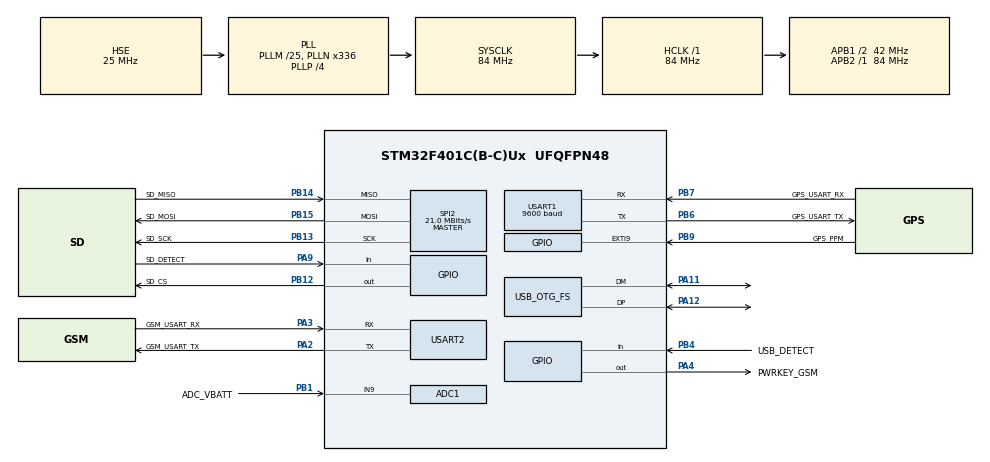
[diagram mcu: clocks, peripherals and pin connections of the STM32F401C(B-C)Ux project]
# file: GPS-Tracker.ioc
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ADC1.Channel-0\#ChannelRegularConversion=ADC_CHANNEL_9
ADC1.ClockPrescaler=ADC_CLOCK_SYNC_PCLK_DIV4
ADC1.ContinuousConvMode=DISABLE
ADC1.DMAContinuousRequests=ENABLE
ADC1.DataAlign=ADC_DATAALIGN_RIGHT
ADC1.EOCSelection=ADC_EOC_SINGLE_CONV
ADC1.ExternalTrigConv=ADC_EXTERNALTRIGCONV_T2_TRGO
ADC1.NbrOfConversionFlag=1
ADC1.Rank-0\#ChannelRegularConversion=1
ADC1.Resolution=ADC_RESOLUTION_8B
ADC1.SamplingTime-0\#ChannelRegularConversion=ADC_SAMPLETIME_480CYCLES
ADC1.master=1
Dma.ADC1.0.Direction=DMA_PERIPH_TO_MEMORY
Dma.ADC1.0.FIFOMode=DMA_FIFOMODE_DISABLE
Dma.ADC1.0.Instance=DMA2_Stream0
Dma.ADC1.0.MemDataAlignment=DMA_MDATAALIGN_HALFWORD
Dma.ADC1.0.MemInc=DMA_MINC_ENABLE
Dma.ADC1.0.Mode=DMA_CIRCULAR
Dma.ADC1.0.PeriphDataAlignment=DMA_PDATAALIGN_HALFWORD
Dma.ADC1.0.PeriphInc=DMA_PINC_DISABLE
Dma.ADC1.0.Priority=DMA_PRIORITY_LOW
Dma.Request0=ADC1
FATFS._MAX_SS=4096
FREERTOS.BinarySemaphores01=send_sms_sem,Dynamic,NULL
FREERTOS.Queues01=gnss_queue,2,nmea_t,0,Dynamic,NULL,NULL;sender_num_queue,1,msg_data_t,0,Dynamic,NULL,NULL
FREERTOS.Tasks01=mqtt_task,24,128,start_mqtt_task,Default,NULL,Dynamic,NULL,NULL;task_gsm,24,1024,start_task_gsm,Default,NULL,Dynamic,NULL,NULL;task_send_gsm,24,512,start_task_send_gsm,Default,NULL,Dynamic,NULL,NULL;task_nmea,24,512,start_task_nmea,Default,NULL,Dynamic,NULL,NULL;task_get_gps,12,128,start_task_get_gps,Default,NULL,Dynamic,NULL,NULL;task_sdcard,23,512,start_task_sdcard,Default,NULL,Dynamic,NULL,NULL
FREERTOS.configTOTAL_HEAP_SIZE=15360
FREERTOS.configUSE_NEWLIB_REENTRANT=1
FREERTOS.configUSE_STATS_FORMATTING_FUNCTIONS=1
Mcu.Family=STM32F4
Mcu.Name=STM32F401C(B-C)Ux
Mcu.Package=UFQFPN48
NVIC.DMA2_Stream0_IRQn=true\:5\:0\:false\:false\:true\:true\:false\:true
NVIC.EXTI9_5_IRQn=true\:5\:0\:false\:false\:true\:true\:true\:true
NVIC.OTG_FS_IRQn=true\:5\:0\:false\:false\:true\:true\:false\:true
NVIC.PriorityGroup=NVIC_PRIORITYGROUP_4
NVIC.TIM1_BRK_TIM9_IRQn=true\:5\:0\:false\:false\:true\:true\:true\:true
NVIC.TIM1_TRG_COM_TIM11_IRQn=true\:15\:0\:false\:false\:true\:false\:false\:true
NVIC.TimeBase=TIM1_TRG_COM_TIM11_IRQn
NVIC.TimeBaseIP=TIM11
NVIC.USART1_IRQn=true\:5\:0\:false\:false\:true\:true\:true\:true
NVIC.USART2_IRQn=true\:5\:0\:false\:false\:true\:true\:true\:true
PA11.Mode=Device_Only
PA11.Signal=USB_OTG_FS_DM
PA12.Mode=Device_Only
PA12.Signal=USB_OTG_FS_DP
PA13.Mode=Trace_Asynchronous_SW
PA13.Signal=SYS_JTMS-SWDIO
PA14.Mode=Trace_Asynchronous_SW
PA14.Signal=SYS_JTCK-SWCLK
PA2.GPIO_Label=GSM_USART_TX
PA2.Mode=Asynchronous
PA2.Signal=USART2_TX
PA3.GPIO_Label=GSM_USART_RX
PA3.Mode=Asynchronous
PA3.Signal=USART2_RX
PA4.GPIO_Label=PWRKEY_GSM
PA4.GPIO_Speed=GPIO_SPEED_FREQ_VERY_HIGH
PA4.Signal=GPIO_Output
PA9.GPIO_Label=SD_DETECT
PA9.Signal=GPIO_Input
PB1.GPIO_Label=ADC_VBATT
PB1.Signal=ADCx_IN9
PB12.GPIO_Label=SD_CS
PB12.GPIO_Speed=GPIO_SPEED_FREQ_VERY_HIGH
PB12.Signal=GPIO_Output
PB13.GPIO_Label=SD_SCK
PB13.Mode=Full_Duplex_Master
PB13.Signal=SPI2_SCK
PB14.GPIO_Label=SD_MISO
PB14.Mode=Full_Duplex_Master
PB14.Signal=SPI2_MISO
PB15.GPIO_Label=SD_MOSI
PB15.Mode=Full_Duplex_Master
PB15.Signal=SPI2_MOSI
PB3.Mode=Trace_Asynchronous_SW
PB3.Signal=SYS_JTDO-SWO
PB4.GPIO_Label=USB_DETECT
PB4.Signal=GPIO_Input
PB6.GPIO_Label=GPS_USART_TX
PB6.Mode=Asynchronous
PB6.Signal=USART1_TX
PB7.GPIO_Label=GPS_USART_RX
PB7.Mode=Asynchronous
PB7.Signal=USART1_RX
PB9.GPIO_Label=GPS_PPM
PB9.GPIO_ModeDefaultEXTI=GPIO_MODE_IT_RISING
PB9.GPIO_PuPd=GPIO_NOPULL
PB9.Signal=GPXTI9
PH0\ -\ OSC_IN.Mode=HSE-External-Oscillator
PH0\ -\ OSC_IN.Signal=RCC_OSC_IN
PH1\ -\ OSC_OUT.Mode=HSE-External-Oscillator
PH1\ -\ OSC_OUT.Signal=RCC_OSC_OUT
ProjectManager.HeapSize=0x1000
ProjectManager.StackSize=0x2000
ProjectManager.TargetToolchain=STM32CubeIDE
RCC.48MHZClocksFreq_Value=48000000
RCC.AHBFreq_Value=84000000
RCC.APB1CLKDivider=RCC_HCLK_DIV2
RCC.APB1Freq_Value=42000000
RCC.APB1TimFreq_Value=84000000
RCC.APB2Freq_Value=84000000
RCC.APB2TimFreq_Value=84000000
RCC.CortexFreq_Value=84000000
RCC.HCLKFreq_Value=84000000
RCC.HSE_VALUE=25000000
RCC.HSI_VALUE=16000000
RCC.LSE_VALUE=32768
RCC.PLLM=25
RCC.PLLN=336
RCC.PLLP=RCC_PLLP_DIV4
RCC.PLLQ=7
RCC.RCC_RTC_Clock_Source=RCC_RTCCLKSOURCE_LSI
RCC.RCC_RTC_Clock_SourceVirtual=RCC_RTCCLKSOURCE_LSI
RCC.SYSCLKFreq_VALUE=84000000
RCC.SYSCLKSource=RCC_SYSCLKSOURCE_PLLCLK
RCC.VCOOutputFreq_Value=336000000
SH.ADCx_IN9.0=ADC1_IN9,IN9
SPI2.BaudRatePrescaler=SPI_BAUDRATEPRESCALER_2
SPI2.CalculateBaudRate=21.0 MBits/s
SPI2.Direction=SPI_DIRECTION_2LINES
SPI2.Mode=SPI_MODE_MASTER
SPI2.VirtualType=VM_MASTER
TIM2.AutoReloadPreload=TIM_AUTORELOAD_PRELOAD_ENABLE
TIM2.Period=8000-1
TIM2.Prescaler=42000-1
TIM2.TIM_MasterOutputTrigger=TIM_TRGO_UPDATE
TIM9.Period=8000-1
TIM9.Prescaler=16000-1
USART1.BaudRate=9600
USART1.VirtualMode=VM_ASYNC
USART2.VirtualMode=VM_ASYNC
USB_DEVICE.CLASS_NAME_FS=MSC
USB_DEVICE.VirtualMode=Msc
USB_DEVICE.VirtualModeFS=Msc_FS
USB_OTG_FS.VirtualMode=Device_Only
VP_FATFS_VS_Generic.Mode=User_defined
VP_FREERTOS_VS_CMSIS_V2.Mode=CMSIS_V2
VP_SYS_VS_tim11.Mode=TIM11
VP_TIM2_VS_ClockSourceINT.Mode=Internal
VP_TIM9_VS_ClockSourceINT.Mode=Internal
VP_USB_DEVICE_VS_USB_DEVICE_MSC_FS.Mode=MSC_FS
board=custom

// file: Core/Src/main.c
/* USER CODE BEGIN Header */
/**
  ******************************************************************************
  * @file           : main.c
  * @brief          : Main program body
  ******************************************************************************
  * @attention
  *
  * <h2><center>&copy; Copyright (c) 2022 STMicroelectronics.
  * All rights reserved.</center></h2>
  *
  * This software component is licensed by ST under BSD 3-Clause license,
  * the "License"; You may not use this file except in compliance with the
  * License. You may obtain a copy of the License at:
  *                        opensource.org/licenses/BSD-3-Clause
  *
  ******************************************************************************
  */
/* USER CODE END Header */
#include "main.h"
#include "cmsis_os.h"
#include "adc.h"
#include "dma.h"
#include "fatfs.h"
#include "spi.h"
#include "tim.h"
#include "usart.h"
#include "usb_device.h"
#include "gpio.h"

/* USER CODE BEGIN PD */
#ifdef DEBUG
#define SWO_DEBUG
#endif
/* USER CODE END PD */

/* USER CODE BEGIN PV */
extern uint8_t gps_is_ready;
extern uint16_t adc_bat;
/* USER CODE END PV */

void SystemClock_Config(void);
void MX_FREERTOS_Init(void);

/* USER CODE BEGIN 0 */

#ifdef SWO_DEBUG
int _write(int file, uint8_t *ptr, int len)
{

	for (int DataIdx = 0; DataIdx < len; DataIdx++)
	{
		ITM_SendChar(*ptr++);
	}
	return len;
}
#endif
#ifdef UART_DEBUG
#ifdef __GNUC__
#define PUTCHAR_PROTOTYPE int __io_putchar(int ch)
#else
#define PUTCHAR_PROTOTYPE int fputc(int ch, FILE *f)
#endif

PUTCHAR_PROTOTYPE
{
	while (!LL_USART_IsActiveFlag_TXE(USART1)) {}
	LL_USART_TransmitData8(USART1, *(uint8_t*)&ch);
	return ch;
}
#endif

static inline void batt_data_update_time(uint32_t ms)
{
	__HAL_TIM_SET_AUTORELOAD(&htim2, (ms * 2) - 1);
}

/* USER CODE END 0 */

int main(void)
{

  /* MCU Configuration--------------------------------------------------------*/

  /* Reset of all peripherals, Initializes the Flash interface and the Systick. */
  HAL_Init();

  /* Configure the system clock */
  SystemClock_Config();

  /* Initialize all configured peripherals */
  MX_GPIO_Init();
  MX_USART1_UART_Init();
  MX_USART2_UART_Init();
  MX_FATFS_Init();
  MX_SPI2_Init();
  MX_DMA_Init();
  MX_ADC1_Init();
  MX_TIM9_Init();
  MX_TIM2_Init();
  /* USER CODE BEGIN 2 */
  __HAL_TIM_SET_PRESCALER(&htim2, (HAL_RCC_GetHCLKFreq() / 2000) - 1); /* make sure that TIM2 clocked by HCLK freq */

  batt_data_update_time(5000);

  HAL_Delay(100);

  if (HAL_GPIO_ReadPin(USB_DETECT_GPIO_Port, USB_DETECT_Pin)) {
	  MX_USB_DEVICE_Init();
	   while(1) {}
  }

  HAL_TIM_Base_Start(&htim2);
  HAL_ADC_Start_DMA(&hadc1, (uint32_t*)&adc_bat, 1);
  /* USER CODE END 2 */

  /* Init scheduler */
  osKernelInitialize();  /* Call init function for freertos objects (in freertos.c) */
  MX_FREERTOS_Init();
  /* Start scheduler */
  osKernelStart();

  /* We should never get here as control is now taken by the scheduler */
  /* Infinite loop */
  while (1)
  {

  }
}

void SystemClock_Config(void)
{
  RCC_OscInitTypeDef RCC_OscInitStruct = {0};
  RCC_ClkInitTypeDef RCC_ClkInitStruct = {0};

  /** Configure the main internal regulator output voltage
  */
  __HAL_RCC_PWR_CLK_ENABLE();
  __HAL_PWR_VOLTAGESCALING_CONFIG(PWR_REGULATOR_VOLTAGE_SCALE2);
  /** Initializes the RCC Oscillators according to the specified parameters
  * in the RCC_OscInitTypeDef structure.
  */
  RCC_OscInitStruct.OscillatorType = RCC_OSCILLATORTYPE_HSE;
  RCC_OscInitStruct.HSEState = RCC_HSE_ON;
  RCC_OscInitStruct.PLL.PLLState = RCC_PLL_ON;
  RCC_OscInitStruct.PLL.PLLSource = RCC_PLLSOURCE_HSE;
  RCC_OscInitStruct.PLL.PLLM = 25;
  RCC_OscInitStruct.PLL.PLLN = 336;
  RCC_OscInitStruct.PLL.PLLP = RCC_PLLP_DIV4;
  RCC_OscInitStruct.PLL.PLLQ = 7;
  if (HAL_RCC_OscConfig(&RCC_OscInitStruct) != HAL_OK)
  {
    Error_Handler();
  }
  /** Initializes the CPU, AHB and APB buses clocks
  */
  RCC_ClkInitStruct.ClockType = RCC_CLOCKTYPE_HCLK|RCC_CLOCKTYPE_SYSCLK
                              |RCC_CLOCKTYPE_PCLK1|RCC_CLOCKTYPE_PCLK2;
  RCC_ClkInitStruct.SYSCLKSource = RCC_SYSCLKSOURCE_PLLCLK;
  RCC_ClkInitStruct.AHBCLKDivider = RCC_SYSCLK_DIV1;
  RCC_ClkInitStruct.APB1CLKDivider = RCC_HCLK_DIV2;
  RCC_ClkInitStruct.APB2CLKDivider = RCC_HCLK_DIV1;

  if (HAL_RCC_ClockConfig(&RCC_ClkInitStruct, FLASH_LATENCY_2) != HAL_OK)
  {
    Error_Handler();
  }
}

/* USER CODE BEGIN 4 */

void HAL_GPIO_EXTI_Callback(uint16_t GPIO_Pin)
{
	if (GPIO_Pin == GPS_PPM_Pin) {
		TIM9->CNT = 0;
		gps_is_ready = 1;
		HAL_TIM_Base_Start_IT(&htim9);
	}
}

volatile uint8_t FatFsCnt = 0;
volatile uint16_t Timer1, Timer2;

void SDTimer_Handler(void)
{
	if(Timer1 > 0)
		Timer1--;

	if(Timer2 > 0)
		Timer2--;
}
/* USER CODE END 4 */

void HAL_TIM_PeriodElapsedCallback(TIM_HandleTypeDef *htim)
{
  /* USER CODE BEGIN Callback 0 */
	if (htim->Instance == TIM9) {
		gps_is_ready = 0;
		HAL_TIM_Base_Stop_IT(&htim9);
//		HAL_GPIO_TogglePin(GPIOC, GPIO_PIN_13);
	}

	if (htim->Instance == TIM11) {
		FatFsCnt++;
		if(FatFsCnt >= 10) {
			FatFsCnt = 0;
			SDTimer_Handler();
		}
	}
  /* USER CODE END Callback 0 */
  if (htim->Instance == TIM11) {
    HAL_IncTick();
  }
}

void Error_Handler(void)
{
  __disable_irq();
  while (1)
  {
  }
}

/************************ (C) COPYRIGHT STMicroelectronics *****END OF FILE****/

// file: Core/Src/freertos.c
/* USER CODE BEGIN Header */
/**
  ******************************************************************************
  * File Name          : freertos.c
  * Description        : Code for freertos applications
  ******************************************************************************
  * @attention
  *
  * <h2><center>&copy; Copyright (c) 2022 STMicroelectronics.
  * All rights reserved.</center></h2>
  *
  * This software component is licensed by ST under Ultimate Liberty license
  * SLA0044, the "License"; You may not use this file except in compliance with
  * the License. You may obtain a copy of the License at:
  *                             www.st.com/SLA0044
  *
  ******************************************************************************
  */
/* USER CODE END Header */

#include "FreeRTOS.h"
#include "task.h"
#include "main.h"
#include "cmsis_os.h"

/* USER CODE BEGIN Includes */
#include "fatfs.h"
#include "gsm.h"
#include "nmea.h"
#include "user_math.h"
/* USER CODE END Includes */

/* USER CODE BEGIN PTD */
nmea_t gps;

extern ADC_HandleTypeDef hadc1;
/* USER CODE END PTD */

/* USER CODE BEGIN Variables */
FATFS 	fs;  // file system
FIL 	fil; // File
FILINFO fno;
FRESULT fresult;  // result
UINT 	br, bw;  // File read/write count

uint32_t freemem;
uint8_t gps_is_ready;
uint16_t adc_bat;

/* USER CODE END Variables */
/* Definitions for mqtt_task */
osThreadId_t mqtt_taskHandle;
const osThreadAttr_t mqtt_task_attributes = {
  .name = "mqtt_task",
  .stack_size = 128 * 4,
  .priority = (osPriority_t) osPriorityNormal,
};
/* Definitions for task_gsm */
osThreadId_t task_gsmHandle;
const osThreadAttr_t task_gsm_attributes = {
  .name = "task_gsm",
  .stack_size = 1024 * 4,
  .priority = (osPriority_t) osPriorityNormal,
};
/* Definitions for task_send_gsm */
osThreadId_t task_send_gsmHandle;
const osThreadAttr_t task_send_gsm_attributes = {
  .name = "task_send_gsm",
  .stack_size = 512 * 4,
  .priority = (osPriority_t) osPriorityAboveNormal,
};
/* Definitions for task_nmea */
osThreadId_t task_nmeaHandle;
const osThreadAttr_t task_nmea_attributes = {
  .name = "task_nmea",
  .stack_size = 512 * 4,
  .priority = (osPriority_t) osPriorityAboveNormal,
};
/* Definitions for task_get_gps */
osThreadId_t task_get_gpsHandle;
const osThreadAttr_t task_get_gps_attributes = {
  .name = "task_get_gps",
  .stack_size = 128 * 4,
  .priority = (osPriority_t) osPriorityLow4,
};
/* Definitions for task_sdcard */
osThreadId_t task_sdcardHandle;
const osThreadAttr_t task_sdcard_attributes = {
  .name = "task_sdcard",
  .stack_size = 512 * 4,
  .priority = (osPriority_t) osPriorityBelowNormal7,
};
/* Definitions for gnss_queue */
osMessageQueueId_t gnss_queueHandle;
const osMessageQueueAttr_t gnss_queue_attributes = {
  .name = "gnss_queue"
};
/* Definitions for sender_num_queue */
osMessageQueueId_t sender_num_queueHandle;
const osMessageQueueAttr_t sender_num_queue_attributes = {
  .name = "sender_num_queue"
};
/* Definitions for send_sms_sem */
osSemaphoreId_t send_sms_semHandle;
const osSemaphoreAttr_t send_sms_sem_attributes = {
  .name = "send_sms_sem"
};

/* USER CODE BEGIN FunctionPrototypes */
uint8_t is_sd_detect(void);
float get_vbat(uint32_t adc_data);
/* USER CODE END FunctionPrototypes */

void start_mqtt_task(void *argument);
void start_task_gsm(void *argument);
void start_task_send_gsm(void *argument);
void start_task_nmea(void *argument);
void start_task_get_gps(void *argument);
void start_task_sdcard(void *argument);

extern void MX_USB_DEVICE_Init(void);
void MX_FREERTOS_Init(void); /* (MISRA C 2004 rule 8.1) */

void MX_FREERTOS_Init(void) {

  /* Create the semaphores(s) */
  /* creation of send_sms_sem */
  send_sms_semHandle = osSemaphoreNew(1, 1, &send_sms_sem_attributes);

  /* USER CODE BEGIN RTOS_SEMAPHORES */
  /* add semaphores, ... */
  osSemaphoreAcquire(send_sms_semHandle, osWaitForever);
  /* USER CODE END RTOS_SEMAPHORES */

  /* Create the queue(s) */
  /* creation of gnss_queue */
  gnss_queueHandle = osMessageQueueNew (2, sizeof(nmea_t), &gnss_queue_attributes);

  /* creation of sender_num_queue */
  sender_num_queueHandle = osMessageQueueNew (1, sizeof(msg_data_t), &sender_num_queue_attributes);

  /* Create the thread(s) */
  /* creation of mqtt_task */
  mqtt_taskHandle = osThreadNew(start_mqtt_task, NULL, &mqtt_task_attributes);

  /* creation of task_gsm */
  task_gsmHandle = osThreadNew(start_task_gsm, NULL, &task_gsm_attributes);

  /* creation of task_send_gsm */
  task_send_gsmHandle = osThreadNew(start_task_send_gsm, NULL, &task_send_gsm_attributes);

  /* creation of task_nmea */
  task_nmeaHandle = osThreadNew(start_task_nmea, NULL, &task_nmea_attributes);

  /* creation of task_get_gps */
  task_get_gpsHandle = osThreadNew(start_task_get_gps, NULL, &task_get_gps_attributes);

  /* creation of task_sdcard */
  task_sdcardHandle = osThreadNew(start_task_sdcard, NULL, &task_sdcard_attributes);

}

void start_mqtt_task(void *argument)
{
  /* init code for USB_DEVICE */
//  MX_USB_DEVICE_Init();
  /* USER CODE BEGIN start_mqtt_task */
  /* Infinite loop */
  for(;;)
  {
//  	gsm_gprs_setApName("internet");
//  	while (gsm_gprs_connect() == 0) {
//  		osDelay(5000);
//  	}
//  	while (gsm_gprs_mqttConnect("broker.mqttdashboard.com", 1883, 1, "sim800", 60, NULL, NULL, 30) == 0) {
//  		osDelay(5000);
//  	}
//  	gsm_gprs_mqttSubscribe("testtopic/bababui", 1);
//  	gsm_gprs_mqttPublish("testtopic/bababui", 1, 0, "hello");

    osDelay(10000);
  }
  /* USER CODE END start_mqtt_task */
}

void start_task_gsm(void *argument)
{
  /* USER CODE BEGIN start_task_gsm */
	gsm_init();
	gsm_power(true);
  /* Infinite loop */
	for(;;) {
		gsm_loop();
		osDelay(10);
	}
  /* USER CODE END start_task_gsm */
}

void start_task_send_gsm(void *argument)
{
  /* USER CODE BEGIN start_task_send_gsm */
	msg_data_t user_data = {};
	char sms_to_send[64];
	gsm_waitForRegister(30);
  /* Infinite loop */
	for (;;) {
		osSemaphoreAcquire(send_sms_semHandle, osWaitForever);
		osMessageQueueGet(sender_num_queueHandle, &user_data, 0, osWaitForever);

		if (strcmp(user_data.msg, "GET GPS") == 0) {
			sprintf(sms_to_send, "https://www.google.com/maps/@%.7f,%.7f"
				, gps.gnss.latitude_deg, gps.gnss.longitude_deg);
		} else if (strcmp(user_data.msg, "GET BATTERY") == 0) {
			sprintf(sms_to_send, "Battery voltage: %fV", get_vbat(adc_bat));
		} else if (strcmp(user_data.msg, "GET SOMETHING") == 0) {

		}
//		gsm_msg_send(user_data.number, sms_to_send);

		memset(sms_to_send, '\0', 64);
		memset(&user_data, '\0', sizeof(user_data));
	}
  /* USER CODE END start_task_send_gsm */
}

void start_task_nmea(void *argument)
{
  /* USER CODE BEGIN start_task_nmea */
	nmea_init(&gps, USART1, 1024);
  /* Infinite loop */
	for(;;)
	{
		nmea_loop(&gps);
		osDelay(1000);
	}
  /* USER CODE END start_task_nmea */
}

void start_task_get_gps(void *argument)
{
  /* USER CODE BEGIN start_task_get_gps */
  /* Infinite loop */
	for (;;) {
		if (gps_is_ready && nmea_available(&gps)) {
			nmea_available_reset(&gps);
			osMessageQueuePut(gnss_queueHandle, &gps, 0, 100);
		}
		osDelay(2000);
	}
  /* USER CODE END start_task_get_gps */
}

void start_task_sdcard(void *argument)
{
  /* USER CODE BEGIN start_task_sdcard */
	nmea_t gnss_data = {};
	int index = 1;
	char buffer[64];
  /* Infinite loop */
	for (;;) {
		if (is_sd_detect() && osMessageQueueGetCount(gnss_queueHandle)) {

			osMessageQueueGet(gnss_queueHandle, &gnss_data, 0, osWaitForever);

			fresult = f_mount(&fs, "", 0);
			if (fresult != FR_OK) {
				printf("Mount failed\n");
			}

			fresult = f_open(&fil, "data.txt", FA_OPEN_ALWAYS | FA_WRITE);
			if (fresult != FR_OK) {
				printf("File wasn't create\n");
			}
			memset(buffer, '\0', sizeof(buffer));

			sprintf(buffer, "%d.\t%.7f\t%.7f\n", index, gnss_data.gnss.latitude_deg, gnss_data.gnss.longitude_deg);
			f_lseek(&fil, f_size(&fil));
			f_puts(buffer, &fil);
			fresult = f_close(&fil);
			if (fresult != FR_OK) {
				printf("File wasn't close\n");
			}

			fresult = f_mount(NULL, "", 1);

			index++;
		}

		osDelay(1000);
	}
  /* USER CODE END start_task_sdcard */
}

/* USER CODE BEGIN Application */

/*
 * @brief Function for detecting SD card
 * @retval Returns 1 if SD detect and 0 if not
 */
uint8_t is_sd_detect(void)
{
	return !HAL_GPIO_ReadPin(SD_DETECT_GPIO_Port, SD_DETECT_Pin);
}

float get_vbat(uint32_t adc_data)
{
	uint16_t max_adc_size = get_adc_resolution(&hadc1);
	return (float)GET_INPUT_VOLTAGE(map(adc_data, 0, max_adc_size, 0, 3200), R1, R2) / 1000;
}
/* USER CODE END Application */

/************************ (C) COPYRIGHT STMicroelectronics *****END OF FILE****/
